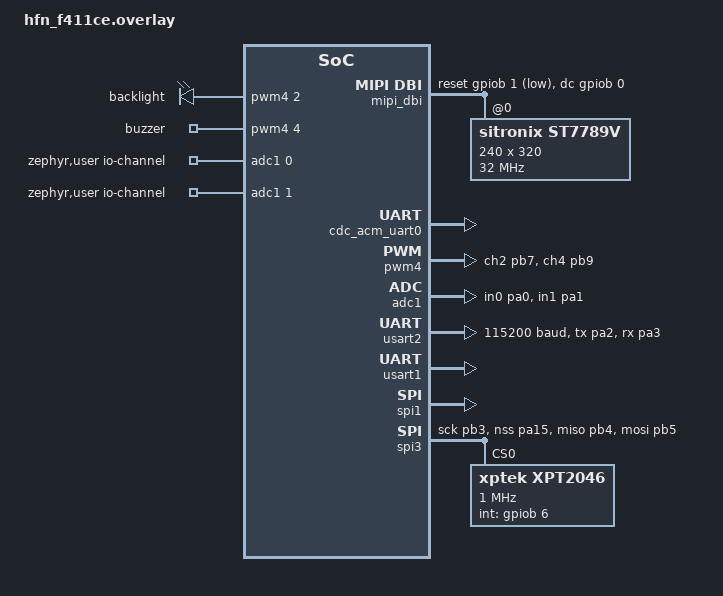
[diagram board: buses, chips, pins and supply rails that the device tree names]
#include <zephyr/dt-bindings/adc/adc.h>
#include <zephyr/dt-bindings/input/input-event-codes.h>
#include <zephyr/dt-bindings/pinctrl/stm32-pinctrl-common.h>
#include <zephyr/dt-bindings/mipi_dbi/mipi_dbi.h>

/ {

    chosen {
       zephyr,console = &usart2;
       zephyr,shell-uart = &usart2;
       zephyr,display = &st7789v;
       zephyr,flash = &flash0;
    };

    // buttons: buttons {
    //     compatible = "gpio-keys";
    //     debounce-interval-ms = <100>;
    //     polling-mode;
        
    //     button_function: button_function {
    //         gpios = <&gpiob 6 GPIO_ACTIVE_LOW>;
    //         zephyr,code = <INPUT_KEY_DOWN>;
    //     };

    //     button_backlight: button_backlight {
    //         gpios = <&gpiob 5 GPIO_ACTIVE_LOW>;
    //         zephyr,code = <INPUT_KEY_UP>;
    //     };

    //     button_tare: button_tare {
    //         gpios = <&gpiob 3 GPIO_ACTIVE_LOW>;
    //         zephyr,code = <INPUT_KEY_LEFT>;
    //     };

    //     button_onoff: button_onoff {
    //         gpios = <&gpiob 8 GPIO_ACTIVE_LOW>;
    //         zephyr,code = <INPUT_KEY_ENTER>;
    //     };

    //     button_grossnet: button_grossnet {
    //         gpios = <&gpiob 4 GPIO_ACTIVE_LOW>;
    //         zephyr,code = <INPUT_KEY_RIGHT>;
    //     };
    // };

    // longpress: longpress {
	// 	input = <&buttons>;
	// 	compatible = "zephyr,input-longpress";
	// 	input-codes = <INPUT_KEY_LEFT>, <INPUT_KEY_RIGHT>;
	// 	long-codes = <INPUT_KEY_R>, <INPUT_KEY_RIGHTSHIFT>;
	// 	long-delay-ms = <1500>;
	// };

    pwmleds: pwmleds {
        compatible = "pwm-leds";
        status = "okay";

        backlight: backlight {
            pwms = <&pwm4 2 200000 PWM_POLARITY_NORMAL>;  // 5kHz = 200µs = 200000ns
        };

        buzzer: buzzer {
            pwms = <&pwm4 4 250000 PWM_POLARITY_NORMAL>;  // 4kHz = 250µs = 250000ns
        };
    };

    aliases {
        pwm-led0 = &backlight;
        pwm-led1 = &buzzer;
    };

    zephyr,user {
        io-channels = <&adc1 0>, <&adc1 1>;
    };

    gpio_keys {
        status = "disabled";
    };

    mipi_dbi {
        compatible = "zephyr,mipi-dbi-spi";
        status = "okay";
        dc-gpios = <&gpiob 0 GPIO_ACTIVE_HIGH>;
        reset-gpios = <&gpiob 1 GPIO_ACTIVE_LOW>;
        spi-dev = <&spi1>;
        write-only;
        #address-cells = <1>;
        #size-cells = <0>;

        st7789v: st7789v@0 {
            compatible = "sitronix,st7789v";
            status = "okay";
            reg = <0>;
            mipi-mode = "MIPI_DBI_MODE_SPI_4WIRE";
            mipi-max-frequency = <32000000>;
            
            width = <240>;
            height = <320>;
            x-offset = <0>;
            y-offset = <0>;
            
            vcom = <0x28>;
            gctrl = <0x35>;
            vrhs = <0x10>;
            vdvs = <0x20>;
            mdac = <0x08>;
            gamma = <0x01>;
            colmod = <0x55>;
            lcm = <0x0C>;
            inversion-off;
            
            porch-param = [0C 0C 00 33 33];
            cmd2en-param = [5A 69 02 01];
            pwctrl1-param = [A4 A1];
            pvgam-param = [D0 00 02 07 0A 28 32 44 42 06 0E 12 14 17];
            nvgam-param = [D0 00 02 07 0A 28 31 54 47 0E 1C 17 1B 1E];
            ram-param = [00 E0];
            rgb-param = [CD 08 14];
        };
    };

    lvgl_pointer {
		compatible = "zephyr,lvgl-pointer-input";
        invert-x;
        // invert-y;
		// swap-xy;
	};
};

&zephyr_udc0 {
    cdc_acm_uart0: cdc_acm_uart0 {
        compatible = "zephyr,cdc-acm-uart";
    };
};

&pwm4 {
    status = "okay";
    pinctrl-0 = <&tim4_ch2_pb7 &tim4_ch4_pb9>;
};

&adc1 {
    pinctrl-0 = <&adc1_in0_pa0 &adc1_in1_pa1>;
    pinctrl-names = "default";
    status = "okay";
};

&adc1_in0_pa0 {
    pinmux = <STM32_PINMUX('A', 0, ANALOG)>;
};

&adc1_in1_pa1 {
    pinmux = <STM32_PINMUX('A', 1, ANALOG)>;
};

&dma2 {
    status = "okay";
};

&usart2 {
    pinctrl-0 = <&usart2_tx_pa2 &usart2_rx_pa3>;
    pinctrl-names = "default";
    status = "okay";
    current-speed = <115200>;
};

&usart1 {
    dmas = <&dma2 7 4 0x28440 0x03>,
           <&dma2 2 4 0x28480 0x03>;
    dma-names = "tx", "rx";
    status = "okay";
};

&spi1 {
    status = "okay";
    cs-gpios = <&gpioa 4 GPIO_ACTIVE_LOW>;
};

&flash0 {
    partitions {
        compatible = "fixed-partitions";
        #address-cells = <1>;
        #size-cells = <1>;

        slot0_partition: partition@0 {
            label = "image-0";
            reg = <0x00000000 DT_SIZE_K(384)>;
        };
        storage_partition: partition@60000 {
            label = "storage";
            reg = <0x00060000 DT_SIZE_K(128)>;
        };
    };
};


&spi3 {
	pinctrl-0 = <&spi3_sck_pb3 &spi3_nss_pa15
		         &spi3_miso_pb4 &spi3_mosi_pb5>;
	pinctrl-names = "default";
	status = "okay";

    xpt2046: xpt2046@0 {
        compatible = "xptek,xpt2046";
        spi-max-frequency = <1000000>;
        reg = <0x0>;
        int-gpios = <&gpiob 6 GPIO_ACTIVE_HIGH>;
        touchscreen-size-x = <240>;
        touchscreen-size-y = <320>;
        min-x = <300>;
        min-y = <300>;
        max-x = <3700>;
        max-y = <3700>;
    };
};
